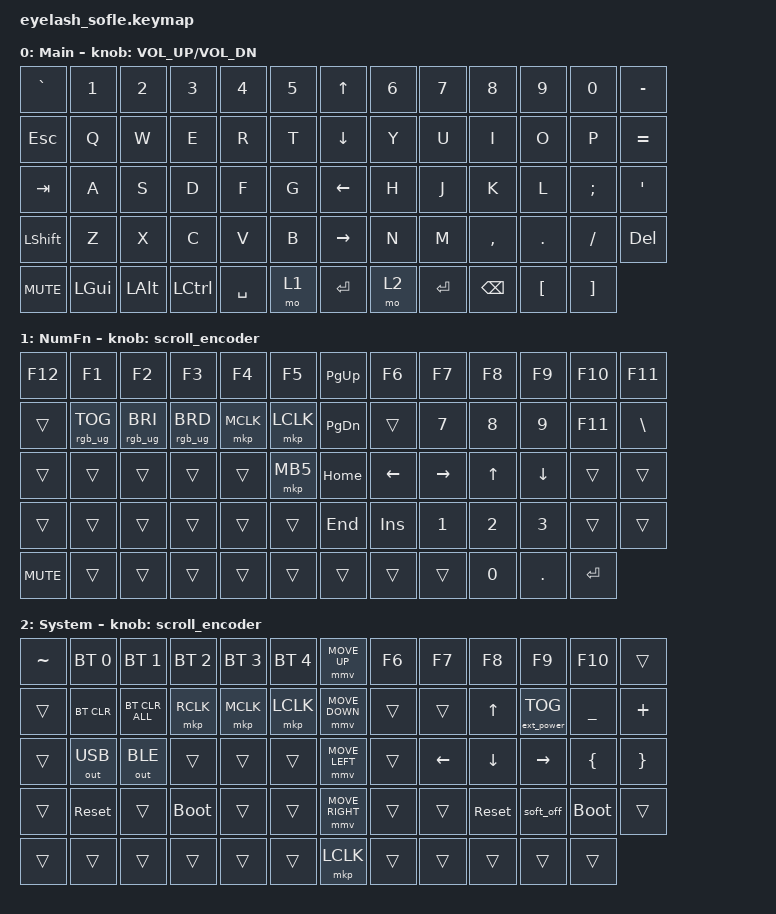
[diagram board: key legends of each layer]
#define ZMK_POINTING_DEFAULT_MOVE_VAL 1200  // 600
#define ZMK_POINTING_DEFAULT_SCRL_VAL 25   // 10

#include <input/processors.dtsi>
#include <zephyr/dt-bindings/input/input-event-codes.h>
#include <behaviors.dtsi>
#include <dt-bindings/zmk/bt.h>
#include <dt-bindings/zmk/ext_power.h>
#include <dt-bindings/zmk/keys.h>
#include <dt-bindings/zmk/outputs.h>
#include <dt-bindings/zmk/pointing.h>
#include <dt-bindings/zmk/rgb.h>

&mmv_input_listener { input-processors = <&zip_xy_scaler 2 1>; };

&msc_input_listener { input-processors = <&zip_scroll_scaler 2 1>; };

&msc {
    acceleration-exponent = <1>;      // 0
    time-to-max-speed-ms = <100>;       // 300
    delay-ms = <0>;                   // 0
};

&mmv {
    time-to-max-speed-ms = <500>;
    acceleration-exponent = <1>;
    trigger-period-ms = <16>;
};

/ {
    scroll_encoder: scroll_encoder {
        compatible = "zmk,behavior-sensor-rotate";
        #sensor-binding-cells = <0>;
        bindings = <&msc SCRL_DOWN>, <&msc SCRL_UP>;

        tap-ms = <100>;
    };

    behaviors {
    };

    keymap {
        compatible = "zmk,keymap";

        layer0 {
            bindings = <
&kp GRAVE   &kp N1    &kp N2    &kp N3     &kp N4     &kp N5    &kp UP_ARROW     &kp N6  &kp N7   &kp N8     &kp N9    &kp N0    &kp MINUS
&kp ESC     &kp Q     &kp W     &kp E      &kp R      &kp T     &kp DOWN_ARROW   &kp Y   &kp U    &kp I      &kp O     &kp P     &kp EQUAL
&kp TAB     &kp A     &kp S     &kp D      &kp F      &kp G     &kp LEFT_ARROW   &kp H   &kp J    &kp K      &kp L     &kp SEMI  &kp SQT
&kp LSHFT   &kp Z     &kp X     &kp C      &kp V      &kp B     &kp RIGHT_ARROW  &kp N   &kp M    &kp COMMA  &kp DOT   &kp FSLH  &kp DEL
&kp C_MUTE  &kp LGUI  &kp LALT  &kp LCTRL  &kp SPACE  &mo 1     &kp ENTER        &mo 2   &kp RET  &kp BSPC   &kp LBKT  &kp RBKT
            >;

            sensor-bindings = <&inc_dec_kp C_VOLUME_UP C_VOL_DN>;
            display-name = "Main";
        };

        layer_1 {
            bindings = <
&kp F12     &kp F1           &kp F2           &kp F3           &kp F4     &kp F5       &kp PG_UP  &kp F6    &kp F7     &kp F8  &kp F9    &kp F10    &kp F11
&trans      &rgb_ug RGB_TOG  &rgb_ug RGB_BRI  &rgb_ug RGB_BRD  &mkp MCLK  &mkp LCLK    &kp PG_DN  &trans    &kp N7     &kp N8  &kp N9    &kp F11    &kp BSLH
&trans      &trans           &trans           &trans           &trans     &mkp MB5     &kp HOME   &kp LEFT  &kp RIGHT  &kp UP  &kp DOWN  &trans     &trans
&trans      &trans           &trans           &trans           &trans     &trans       &kp END    &kp INS   &kp N1     &kp N2  &kp N3    &trans     &trans
&kp C_MUTE  &trans           &trans           &trans           &trans     &trans       &trans     &trans    &trans     &kp N0  &kp DOT   &kp ENTER
            >;

            display-name = "NumFn";
            sensor-bindings = <&scroll_encoder>;
        };

        layer_2 {
            bindings = <
&kp TILDE  &bt BT_SEL 0  &bt BT_SEL 1    &bt BT_SEL 2  &bt BT_SEL 3  &bt BT_SEL 4    &mmv MOVE_UP     &kp F6  &kp F7          &kp F8          &kp F9             &kp F10      &trans
&trans     &bt BT_CLR    &bt BT_CLR_ALL  &mkp RCLK     &mkp MCLK     &mkp LCLK       &mmv MOVE_DOWN   &trans  &trans          &kp UP_ARROW    &ext_power EP_TOG  &kp UNDER    &kp PLUS
&trans     &out OUT_USB  &out OUT_BLE    &trans        &trans        &trans          &mmv MOVE_LEFT   &trans  &kp LEFT_ARROW  &kp DOWN_ARROW  &kp RIGHT_ARROW    &kp LBRC     &kp RBRC
&trans     &sys_reset    &trans          &bootloader   &trans        &trans          &mmv MOVE_RIGHT  &trans  &trans          &sys_reset      &soft_off          &bootloader  &trans
&trans     &trans        &trans          &trans        &trans        &trans          &mkp LCLK        &trans  &trans          &trans          &trans             &trans
            >;

            display-name = "System";
            sensor-bindings = <&scroll_encoder>;
        };
    };
};
